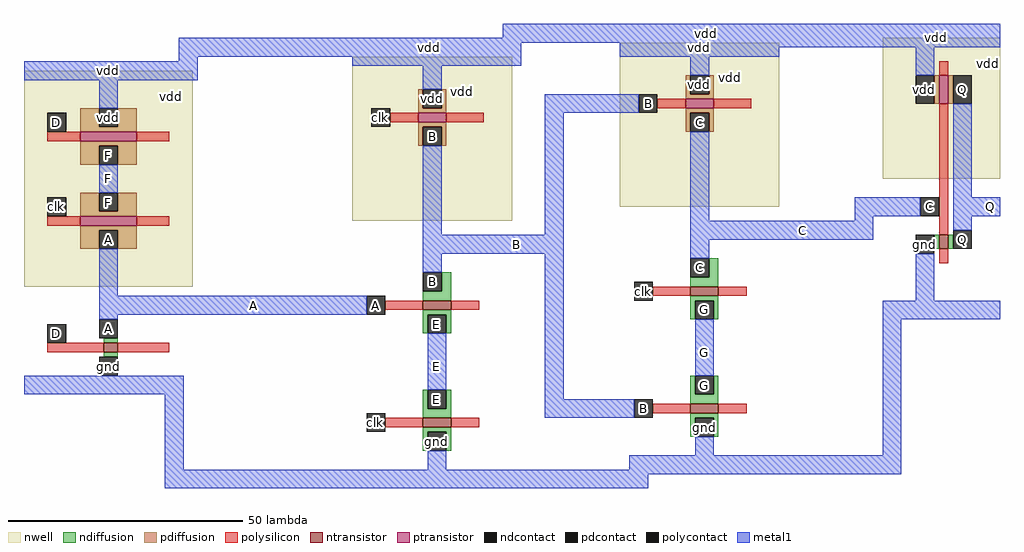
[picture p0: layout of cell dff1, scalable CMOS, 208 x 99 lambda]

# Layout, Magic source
magic
tech scmos
<< nwell >>
rect 0 0 36 46
rect 70 14 104 49
rect 127 17 161 52
rect 183 23 208 53
<< ntransistor >>
rect 195 8 197 11
rect 142 -2 148 0
rect 85 -5 91 -3
rect 17 -14 20 -12
rect 142 -27 148 -25
rect 85 -30 91 -28
<< ptransistor >>
rect 141 38 147 40
rect 195 39 197 45
rect 84 35 90 37
rect 12 31 24 33
rect 12 13 24 15
<< ndiffusion >>
rect 194 8 195 11
rect 197 8 198 11
rect 89 -1 91 3
rect 146 2 148 6
rect 85 -3 91 -1
rect 142 0 148 2
rect 142 -3 148 -2
rect 85 -6 91 -5
rect 85 -10 86 -6
rect 90 -10 91 -6
rect 142 -7 143 -3
rect 147 -7 148 -3
rect 17 -12 20 -11
rect 17 -15 20 -14
rect 85 -26 86 -22
rect 90 -26 91 -22
rect 142 -23 143 -19
rect 147 -23 148 -19
rect 85 -28 91 -26
rect 142 -25 148 -23
rect 142 -28 148 -27
rect 85 -31 91 -30
rect 85 -35 86 -31
rect 90 -35 91 -31
rect 142 -32 143 -28
rect 147 -32 148 -28
<< pdiffusion >>
rect 84 38 85 42
rect 89 38 90 42
rect 141 41 142 45
rect 146 41 147 45
rect 12 34 16 38
rect 20 34 24 38
rect 84 37 90 38
rect 141 40 147 41
rect 194 39 195 45
rect 197 39 198 45
rect 141 37 147 38
rect 84 34 90 35
rect 12 33 24 34
rect 12 30 24 31
rect 84 30 85 34
rect 89 30 90 34
rect 141 33 142 37
rect 146 33 147 37
rect 12 26 16 30
rect 20 26 24 30
rect 12 16 16 20
rect 20 16 24 20
rect 12 15 24 16
rect 12 12 24 13
rect 12 8 16 12
rect 20 8 24 12
<< ndcontact >>
rect 190 7 194 11
rect 198 8 202 12
rect 85 -1 89 3
rect 142 2 146 6
rect 16 -11 20 -7
rect 86 -10 90 -6
rect 143 -7 147 -3
rect 16 -19 20 -15
rect 86 -26 90 -22
rect 143 -23 147 -19
rect 86 -35 90 -31
rect 143 -32 147 -28
<< pdcontact >>
rect 85 38 89 42
rect 142 41 146 45
rect 16 34 20 38
rect 190 39 194 45
rect 198 39 202 45
rect 85 30 89 34
rect 142 33 146 37
rect 16 26 20 30
rect 16 16 20 20
rect 16 8 20 12
<< polysilicon >>
rect 195 45 197 48
rect 135 38 141 40
rect 147 38 155 40
rect 78 35 84 37
rect 90 35 98 37
rect 5 31 12 33
rect 24 31 31 33
rect 5 13 12 15
rect 24 13 31 15
rect 195 11 197 39
rect 195 5 197 8
rect 134 -2 142 0
rect 148 -2 154 0
rect 77 -5 85 -3
rect 91 -5 97 -3
rect 5 -14 17 -12
rect 20 -14 31 -12
rect 134 -27 142 -25
rect 148 -27 154 -25
rect 77 -30 85 -28
rect 91 -30 97 -28
<< polycontact >>
rect 5 33 9 37
rect 74 34 78 38
rect 131 37 135 41
rect 5 15 9 19
rect 191 15 195 19
rect 73 -6 77 -2
rect 130 -3 134 1
rect 5 -12 9 -8
rect 73 -31 77 -27
rect 130 -28 134 -24
<< metal1 >>
rect 102 53 208 56
rect 33 52 208 53
rect 33 49 106 52
rect 127 51 208 52
rect 127 49 161 51
rect 33 48 37 49
rect 0 44 37 48
rect 70 47 106 49
rect 16 38 20 44
rect 85 42 89 47
rect 142 45 146 49
rect 190 45 194 51
rect 111 37 131 41
rect 16 20 20 26
rect 16 -2 20 8
rect 85 11 89 30
rect 111 11 115 37
rect 85 7 115 11
rect 85 3 89 7
rect 16 -6 73 -2
rect 16 -7 20 -6
rect 0 -23 34 -19
rect 30 -39 34 -23
rect 86 -22 90 -10
rect 111 -24 115 7
rect 142 14 146 33
rect 198 19 202 39
rect 177 15 191 19
rect 198 15 208 19
rect 177 14 181 15
rect 142 10 181 14
rect 198 12 202 15
rect 142 6 146 10
rect 190 -3 194 7
rect 143 -19 147 -7
rect 183 -7 208 -3
rect 111 -28 130 -24
rect 86 -39 90 -35
rect 143 -36 147 -32
rect 183 -36 187 -7
rect 129 -39 187 -36
rect 30 -40 187 -39
rect 30 -43 133 -40
<< labels >>
rlabel polycontact 5 -12 9 -8 1 D
rlabel polycontact 5 33 9 37 1 D
rlabel polycontact 5 15 9 19 1 clk
rlabel polycontact 73 -31 77 -27 1 clk
rlabel polycontact 74 34 78 38 1 clk
rlabel polycontact 130 -3 134 1 1 clk
rlabel metal1 204 15 208 19 7 Q
rlabel metal1 46 -6 52 -2 1 A
rlabel metal1 102 7 108 11 1 B
rlabel metal1 163 10 169 14 1 C
rlabel metal1 74 49 99 53 1 vdd
rlabel metal1 133 52 158 56 5 vdd
rlabel metal1 182 51 207 55 5 vdd
rlabel metal1 86 -19 90 -15 1 E
rlabel metal1 16 21 20 25 1 F
rlabel metal1 143 -16 147 -12 1 G
rlabel metal1 127 49 161 53 1 vdd
rlabel metal1 70 47 104 51 1 vdd
rlabel metal1 0 44 36 48 5 vdd
rlabel metal1 0 44 36 47 1 vdd
rlabel metal1 183 51 208 53 5 vdd
rlabel nwell 149 43 152 46 1 vdd
rlabel nwell 92 40 95 43 1 vdd
rlabel nwell 30 39 33 42 1 vdd
rlabel nwell 204 46 207 49 7 vdd
rlabel pdcontact 16 34 20 38 1 vdd
rlabel pdcontact 16 26 20 30 1 F
rlabel pdcontact 16 16 20 20 1 F
rlabel pdcontact 16 8 20 12 1 A
rlabel ndcontact 16 -11 20 -7 1 A
rlabel ndcontact 16 -19 20 -15 1 gnd
rlabel ndcontact 86 -35 90 -31 1 gnd
rlabel ndcontact 143 -32 147 -28 1 gnd
rlabel ndcontact 190 7 194 11 1 gnd
rlabel ndcontact 86 -26 90 -22 1 E
rlabel ndcontact 86 -10 90 -6 1 E
rlabel polycontact 73 -6 77 -2 1 A
rlabel ndcontact 85 -1 89 3 1 B
rlabel pdcontact 85 30 89 34 1 B
rlabel pdcontact 85 38 89 42 1 vdd
rlabel polycontact 130 -28 134 -24 1 B
rlabel ndcontact 143 -23 147 -19 1 G
rlabel ndcontact 143 -7 147 -3 1 G
rlabel ndcontact 142 2 146 6 1 C
rlabel pdcontact 142 33 146 37 1 C
rlabel pdcontact 142 41 146 45 1 vdd
rlabel polycontact 131 37 135 41 1 B
rlabel polycontact 191 15 195 19 1 C
rlabel pdcontact 190 39 194 45 1 vdd
rlabel pdcontact 198 39 202 45 1 Q
rlabel ndcontact 198 8 202 12 1 Q
<< end >>
